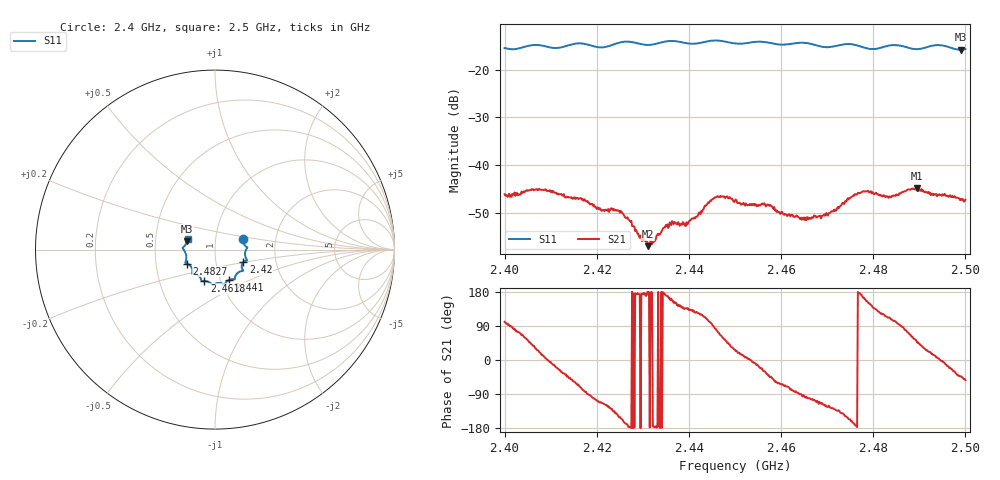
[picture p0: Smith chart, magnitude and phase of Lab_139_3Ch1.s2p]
# Hz S RI R 50
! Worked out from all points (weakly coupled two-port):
!   601 points, 2.4 GHz to 2.5 GHz, reference 50 ohm
!   highest |S21| = -44.91 dB at 2.4895 GHz (marker M1); lowest = -57.0 dB at 2.4312 GHz (marker M2)
!   lowest |S11| = -15.8 dB at 2.499 GHz (marker M3), VSWR 1.38, Z = 36.5 + j3.53 ohm
!   |S11| at or under -10 dB: start of sweep to end of sweep
!   S12 and S22 are empty: the file has one direction only
!   S11 on the Smith chart (normalised r, x): 2.4 GHz: 1.36, +0.17; 2.42 GHz: 1.36, -0.19; 2.441 GHz: 1.10, -0.39; 2.4618 GHz: 0.84, -0.30; 2.4827 GHz: 0.72, -0.12; 2.5 GHz: 0.73, +0.09
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2.4e9  0.1562 0.0617  -0.000911 0.00484  0 0  0 0
2.4085e9  0.1769 0.00583  0.00535 0.000932  0 0  0 0
2.416667e9  0.1784 -0.0594  0.00118 -0.00428  0 0  0 0
2.42e9  0.1579 -0.0694  -0.000984 -0.0033  0 0  0 0
2.425167e9  0.1554 -0.1146  -0.00295 -0.00148  0 0  0 0
2.431167e9  0.1241 -0.1321  -0.0014 7.79e-05  0 0  0 0
2.433333e9  0.1118 -0.152  -0.0019 1.37e-05  0 0  0 0
2.436333e9  0.1102 -0.1665  -0.00237 0.00101  0 0  0 0
2.441e9  0.0775 -0.1695  -0.00179 0.00206  0 0  0 0
2.445833e9  0.0517 -0.1953  0.000652 0.00451  0 0  0 0
2.45e9  0.0277 -0.1858  0.00378 0.00195  0 0  0 0
2.4575e9  -0.021 -0.1895  0.00264 -0.00261  0 0  0 0
2.461833e9  -0.0601 -0.175  0.000858 -0.00291  0 0  0 0
2.466667e9  -0.0769 -0.1684  -0.000691 -0.00274  0 0  0 0
2.4705e9  -0.1005 -0.1397  -0.00175 -0.0026  0 0  0 0
2.477667e9  -0.1254 -0.1181  -0.00514 0.00118  0 0  0 0
2.482667e9  -0.157 -0.0778  -0.00197 0.00415  0 0  0 0
2.483333e9  -0.1611 -0.0764  -0.0017 0.00418  0 0  0 0
2.4895e9  -0.1611 -0.0294  0.00393 0.0041  0 0  0 0
2.494167e9  -0.1803 0.00892  0.00482 0.00036  0 0  0 0
2.499e9  -0.1543 0.0471  0.00317 -0.00303  0 0  0 0
2.5e9  -0.1518 0.0616  0.00259 -0.00345  0 0  0 0
